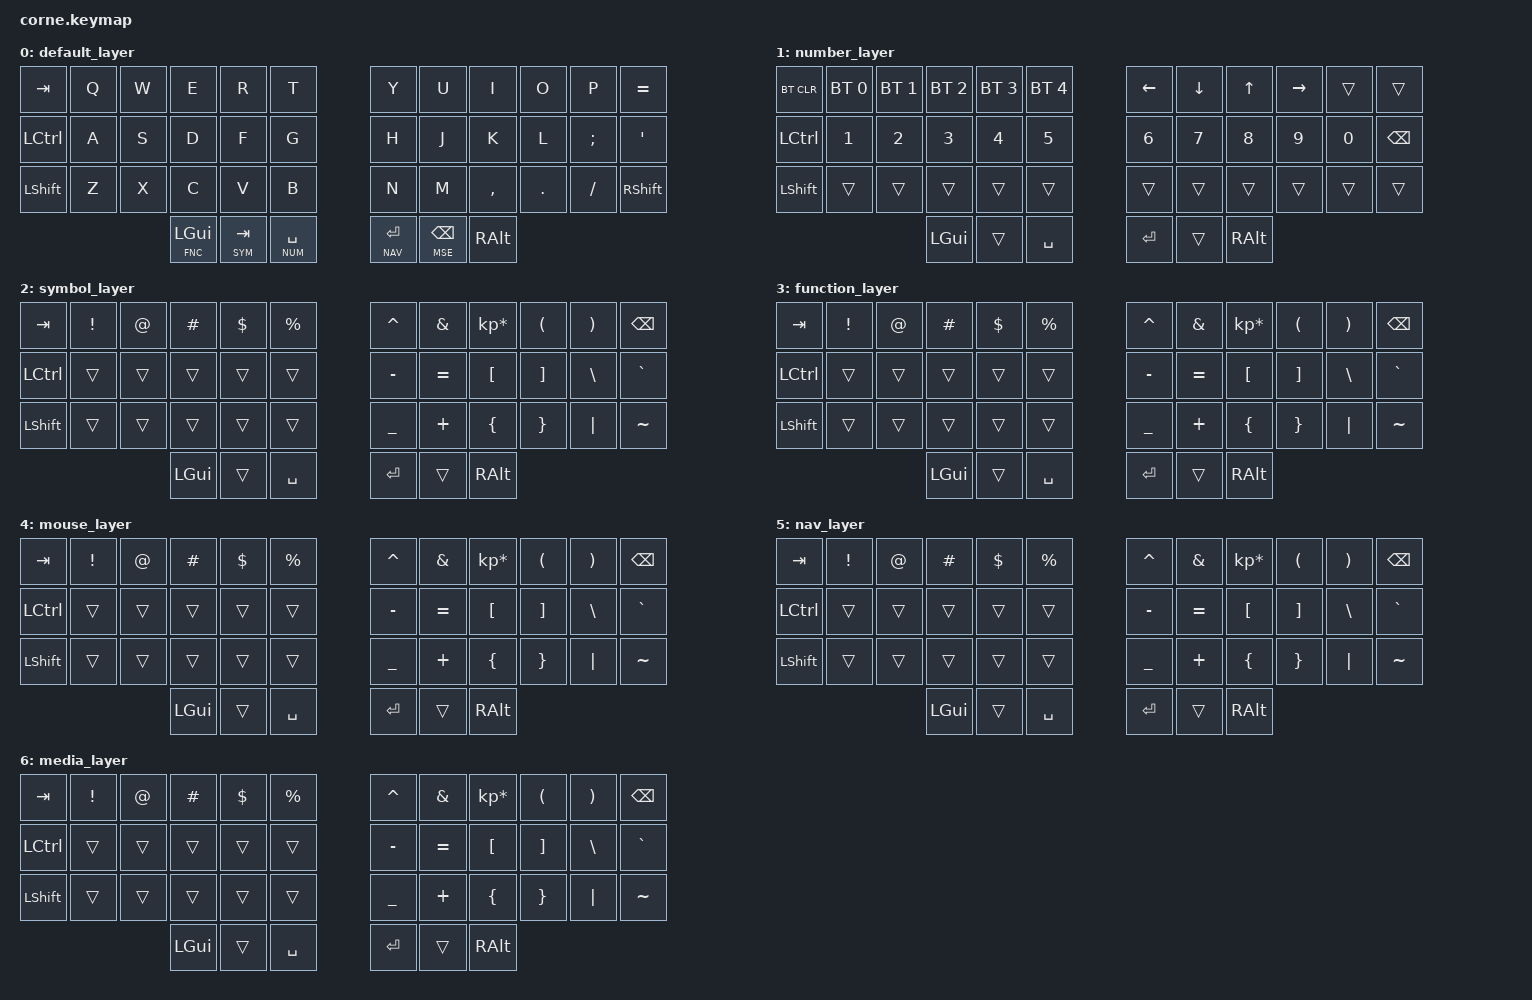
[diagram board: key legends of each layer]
/*
 * Copyright (c) 2020 The ZMK Contributors
 *
 * SPDX-License-Identifier: MIT
 */

#include <behaviors.dtsi>
#include <dt-bindings/zmk/keys.h>
#include <dt-bindings/zmk/bt.h>

#define DFLT 0
#define NUM 1
#define SYM 2
#define FNC 3
#define MSE 4
#define NAV 5
#define MED 6

/ {
        keymap {
                compatible = "zmk,keymap";

                default_layer {
// -----------------------------------------------------------------------------------------
// |  TAB |  Q  |  W  |  E  |  R  |  T  |   |  Y  |  U   |  I  |  O  |  P  |  =   |
// | CTRL |  A  |  S  |  D  |  F  |  G  |   |  H  |  J   |  K  |  L  |  ;  |  '   |
// | SHFT |  Z  |  X  |  C  |  V  |  B  |   |  N  |  M   |  ,  |  .  |  /  | SHFT |
//                    | GUI | TAB | SPC |   | ENT | RSE  | ALT |
                        bindings = <
   &kp TAB   &kp Q &kp W &kp E        &kp R       &kp T         &kp Y       &kp U        &kp I     &kp O   &kp P    &kp EQUAL
   &kp LCTRL &kp A &kp S &kp D        &kp F       &kp G         &kp H       &kp J        &kp K     &kp L   &kp SEMI &kp SQT
   &kp LSHFT &kp Z &kp X &kp C        &kp V       &kp B         &kp N       &kp M        &kp COMMA &kp DOT &kp FSLH &kp RSHFT
                         &lt FNC LGUI &lt SYM TAB &lt NUM SPACE &lt NAV RET &lt MSE BSPC &kp RALT
                        >;
                };

                number_layer {
// -----------------------------------------------------------------------------------------
// | BTCLR| BT1 | BT2 | BT3 | BT4 | BT5 |   | LFT | DWN |  UP | RGT |     |      |
// | CTRL |  1  |  2  |  3  |  4  |  5  |   |  6  |  7  |  8  |  9  |  0  | BKSP |
// | SHFT |     |     |     |     |     |   |     |     |     |     |     |      |
//                    | GUI |     | SPC |   | ENT |     | ALT |
                        bindings = <
   &bt BT_CLR &bt BT_SEL 0 &bt BT_SEL 1 &bt BT_SEL 2 &bt BT_SEL 3 &bt BT_SEL 4   &kp LEFT &kp DOWN &kp UP &kp RIGHT &trans &trans
   &kp LCTRL  &kp N1       &kp N2       &kp N3       &kp N4       &kp N5         &kp N6   &kp N7   &kp N8 &kp N9    &kp N0 &kp BSPC
   &kp LSHFT  &trans       &trans       &trans       &trans       &trans         &trans   &trans   &trans &trans    &trans &trans
                                    &kp LGUI     &trans       &kp SPACE      &kp RET  &trans   &kp RALT
                        >;
                };

                symbol_layer {
// -----------------------------------------------------------------------------------------
// |  TAB |  !  |  @  |  #  |  $  |  %  |   |  ^  |  &  |  *  |  (  |  )  | BKSP |
// | CTRL |     |     |     |     |     |   |  -  |  =  |  [  |  ]  |  \  |  `   |
// | SHFT |     |     |     |     |     |   |  _  |  +  |  {  |  }  | "|" |  ~   |
//                    | GUI |     | SPC |   | ENT |     | ALT |
                        bindings = <
   &kp  TAB  &kp EXCL &kp AT &kp HASH &kp DLLR &kp PRCNT   &kp CARET &kp AMPS  &kp KP_MULTIPLY &kp LPAR &kp RPAR &kp BSPC
   &kp LCTRL &trans   &trans &trans   &trans   &trans      &kp MINUS &kp EQUAL &kp LBKT        &kp RBKT &kp BSLH &kp GRAVE
   &kp LSHFT &trans   &trans &trans   &trans   &trans      &kp UNDER &kp PLUS  &kp LBRC        &kp RBRC &kp PIPE &kp TILDE
   &kp LGUI &trans   &kp SPACE   &kp RET   &trans    &kp RALT
                        >;
                };

                function_layer {
// -----------------------------------------------------------------------------------------
// |  TAB |  !  |  @  |  #  |  $  |  %  |   |  ^  |  &  |  *  |  (  |  )  | BKSP |
// | CTRL |     |     |     |     |     |   |  -  |  =  |  [  |  ]  |  \  |  `   |
// | SHFT |     |     |     |     |     |   |  _  |  +  |  {  |  }  | "|" |  ~   |
//                    | GUI |     | SPC |   | ENT |     | ALT |
                        bindings = <
   &kp  TAB  &kp EXCL &kp AT &kp HASH &kp DLLR &kp PRCNT   &kp CARET &kp AMPS  &kp KP_MULTIPLY &kp LPAR &kp RPAR &kp BSPC
   &kp LCTRL &trans   &trans &trans   &trans   &trans      &kp MINUS &kp EQUAL &kp LBKT        &kp RBKT &kp BSLH &kp GRAVE
   &kp LSHFT &trans   &trans &trans   &trans   &trans      &kp UNDER &kp PLUS  &kp LBRC        &kp RBRC &kp PIPE &kp TILDE
   &kp LGUI &trans   &kp SPACE   &kp RET   &trans    &kp RALT
                        >;
                };

                mouse_layer {
// -----------------------------------------------------------------------------------------
// |  TAB |  !  |  @  |  #  |  $  |  %  |   |  ^  |  &  |  *  |  (  |  )  | BKSP |
// | CTRL |     |     |     |     |     |   |  -  |  =  |  [  |  ]  |  \  |  `   |
// | SHFT |     |     |     |     |     |   |  _  |  +  |  {  |  }  | "|" |  ~   |
//                    | GUI |     | SPC |   | ENT |     | ALT |
                        bindings = <
   &kp  TAB  &kp EXCL &kp AT &kp HASH &kp DLLR &kp PRCNT   &kp CARET &kp AMPS  &kp KP_MULTIPLY &kp LPAR &kp RPAR &kp BSPC
   &kp LCTRL &trans   &trans &trans   &trans   &trans      &kp MINUS &kp EQUAL &kp LBKT        &kp RBKT &kp BSLH &kp GRAVE
   &kp LSHFT &trans   &trans &trans   &trans   &trans      &kp UNDER &kp PLUS  &kp LBRC        &kp RBRC &kp PIPE &kp TILDE
   &kp LGUI &trans   &kp SPACE   &kp RET   &trans    &kp RALT
                        >;
                };

                nav_layer {
// -----------------------------------------------------------------------------------------
// |  TAB |  !  |  @  |  #  |  $  |  %  |   |  ^  |  &  |  *  |  (  |  )  | BKSP |
// | CTRL |     |     |     |     |     |   |  -  |  =  |  [  |  ]  |  \  |  `   |
// | SHFT |     |     |     |     |     |   |  _  |  +  |  {  |  }  | "|" |  ~   |
//                    | GUI |     | SPC |   | ENT |     | ALT |
                        bindings = <
   &kp  TAB  &kp EXCL &kp AT &kp HASH &kp DLLR &kp PRCNT   &kp CARET &kp AMPS  &kp KP_MULTIPLY &kp LPAR &kp RPAR &kp BSPC
   &kp LCTRL &trans   &trans &trans   &trans   &trans      &kp MINUS &kp EQUAL &kp LBKT        &kp RBKT &kp BSLH &kp GRAVE
   &kp LSHFT &trans   &trans &trans   &trans   &trans      &kp UNDER &kp PLUS  &kp LBRC        &kp RBRC &kp PIPE &kp TILDE
   &kp LGUI &trans   &kp SPACE   &kp RET   &trans    &kp RALT
                        >;
                };

                media_layer {
// -----------------------------------------------------------------------------------------
// |  TAB |  !  |  @  |  #  |  $  |  %  |   |  ^  |  &  |  *  |  (  |  )  | BKSP |
// | CTRL |     |     |     |     |     |   |  -  |  =  |  [  |  ]  |  \  |  `   |
// | SHFT |     |     |     |     |     |   |  _  |  +  |  {  |  }  | "|" |  ~   |
//                    | GUI |     | SPC |   | ENT |     | ALT |
                        bindings = <
   &kp  TAB  &kp EXCL &kp AT &kp HASH &kp DLLR &kp PRCNT   &kp CARET &kp AMPS  &kp KP_MULTIPLY &kp LPAR &kp RPAR &kp BSPC
   &kp LCTRL &trans   &trans &trans   &trans   &trans      &kp MINUS &kp EQUAL &kp LBKT        &kp RBKT &kp BSLH &kp GRAVE
   &kp LSHFT &trans   &trans &trans   &trans   &trans      &kp UNDER &kp PLUS  &kp LBRC        &kp RBRC &kp PIPE &kp TILDE
   &kp LGUI &trans   &kp SPACE   &kp RET   &trans    &kp RALT
                        >;
                };
        };
};
